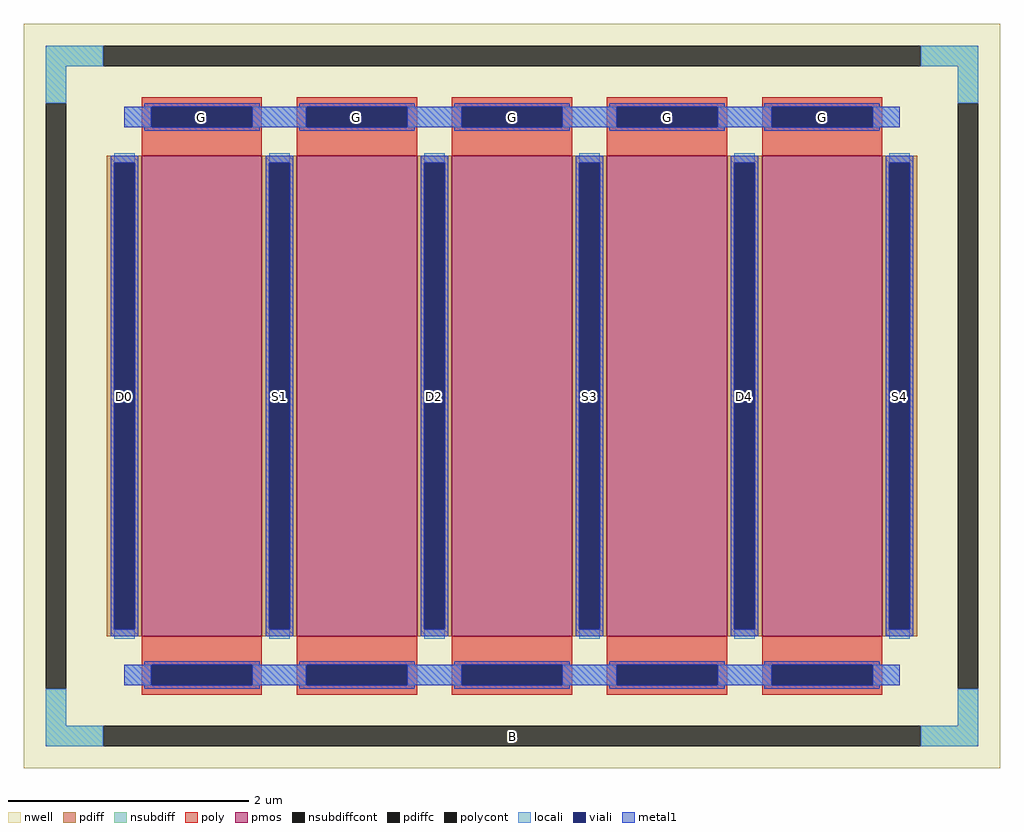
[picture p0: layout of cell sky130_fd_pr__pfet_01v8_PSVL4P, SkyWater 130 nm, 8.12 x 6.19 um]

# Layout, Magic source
magic
tech sky130A
magscale 1 2
<< nwell >>
rect -812 -619 812 619
<< pmos >>
rect -616 -400 -416 400
rect -358 -400 -158 400
rect -100 -400 100 400
rect 158 -400 358 400
rect 416 -400 616 400
<< pdiff >>
rect -674 388 -616 400
rect -674 -388 -662 388
rect -628 -388 -616 388
rect -674 -400 -616 -388
rect -416 388 -358 400
rect -416 -388 -404 388
rect -370 -388 -358 388
rect -416 -400 -358 -388
rect -158 388 -100 400
rect -158 -388 -146 388
rect -112 -388 -100 388
rect -158 -400 -100 -388
rect 100 388 158 400
rect 100 -388 112 388
rect 146 -388 158 388
rect 100 -400 158 -388
rect 358 388 416 400
rect 358 -388 370 388
rect 404 -388 416 388
rect 358 -400 416 -388
rect 616 388 674 400
rect 616 -388 628 388
rect 662 -388 674 388
rect 616 -400 674 -388
<< pdiffc >>
rect -662 -388 -628 388
rect -404 -388 -370 388
rect -146 -388 -112 388
rect 112 -388 146 388
rect 370 -388 404 388
rect 628 -388 662 388
<< nsubdiff >>
rect -776 549 -680 583
rect 680 549 776 583
rect -776 487 -742 549
rect 742 487 776 549
rect -776 -549 -742 -487
rect 742 -549 776 -487
rect -776 -583 -680 -549
rect 680 -583 776 -549
<< nsubdiffcont >>
rect -680 549 680 583
rect -776 -487 -742 487
rect 742 -487 776 487
rect -680 -583 680 -549
<< poly >>
rect -616 481 -416 497
rect -616 447 -600 481
rect -432 447 -416 481
rect -616 400 -416 447
rect -358 481 -158 497
rect -358 447 -342 481
rect -174 447 -158 481
rect -358 400 -158 447
rect -100 481 100 497
rect -100 447 -84 481
rect 84 447 100 481
rect -100 400 100 447
rect 158 481 358 497
rect 158 447 174 481
rect 342 447 358 481
rect 158 400 358 447
rect 416 481 616 497
rect 416 447 432 481
rect 600 447 616 481
rect 416 400 616 447
rect -616 -447 -416 -400
rect -616 -481 -600 -447
rect -432 -481 -416 -447
rect -616 -497 -416 -481
rect -358 -447 -158 -400
rect -358 -481 -342 -447
rect -174 -481 -158 -447
rect -358 -497 -158 -481
rect -100 -447 100 -400
rect -100 -481 -84 -447
rect 84 -481 100 -447
rect -100 -497 100 -481
rect 158 -447 358 -400
rect 158 -481 174 -447
rect 342 -481 358 -447
rect 158 -497 358 -481
rect 416 -447 616 -400
rect 416 -481 432 -447
rect 600 -481 616 -447
rect 416 -497 616 -481
<< polycont >>
rect -600 447 -432 481
rect -342 447 -174 481
rect -84 447 84 481
rect 174 447 342 481
rect 432 447 600 481
rect -600 -481 -432 -447
rect -342 -481 -174 -447
rect -84 -481 84 -447
rect 174 -481 342 -447
rect 432 -481 600 -447
<< locali >>
rect -776 549 -680 583
rect 680 549 776 583
rect -776 487 -742 549
rect 742 487 776 549
rect -645 447 -600 481
rect -432 447 -342 481
rect -174 447 -84 481
rect 84 447 174 481
rect 342 447 432 481
rect 600 447 645 481
rect -662 388 -628 404
rect -662 -404 -628 -388
rect -404 388 -370 404
rect -404 -404 -370 -388
rect -146 388 -112 404
rect -146 -404 -112 -388
rect 112 388 146 404
rect 112 -404 146 -388
rect 370 388 404 404
rect 370 -404 404 -388
rect 628 388 662 404
rect 628 -404 662 -388
rect -645 -481 -600 -447
rect -432 -481 -342 -447
rect -174 -481 -84 -447
rect 84 -481 174 -447
rect 342 -481 432 -447
rect 600 -481 645 -447
rect -776 -549 -742 -487
rect 742 -549 776 -487
rect -776 -583 -680 -549
rect 680 -583 776 -549
<< viali >>
rect -600 447 -432 481
rect -342 447 -174 481
rect -84 447 84 481
rect 174 447 342 481
rect 432 447 600 481
rect -662 -388 -628 388
rect -404 -388 -370 388
rect -146 -388 -112 388
rect 112 -388 146 388
rect 370 -388 404 388
rect 628 -388 662 388
rect -600 -481 -432 -447
rect -342 -481 -174 -447
rect -84 -481 84 -447
rect 174 -481 342 -447
rect 432 -481 600 -447
<< metal1 >>
rect -612 481 -420 487
rect -354 481 -162 487
rect -96 481 96 487
rect 162 481 354 487
rect 420 481 612 487
rect -645 447 -600 481
rect -432 447 -342 481
rect -174 447 -84 481
rect 84 447 174 481
rect 342 447 432 481
rect 600 447 645 481
rect -612 441 -420 447
rect -354 441 -162 447
rect -96 441 96 447
rect 162 441 354 447
rect 420 441 612 447
rect -668 388 -622 400
rect -668 -388 -662 388
rect -628 -388 -622 388
rect -668 -400 -622 -388
rect -410 388 -364 400
rect -410 -388 -404 388
rect -370 -388 -364 388
rect -410 -400 -364 -388
rect -152 388 -106 400
rect -152 -388 -146 388
rect -112 -388 -106 388
rect -152 -400 -106 -388
rect 106 388 152 400
rect 106 -388 112 388
rect 146 -388 152 388
rect 106 -400 152 -388
rect 364 388 410 400
rect 364 -388 370 388
rect 404 -388 410 388
rect 364 -400 410 -388
rect 622 388 668 400
rect 622 -388 628 388
rect 662 -388 668 388
rect 622 -400 668 -388
rect -612 -447 -420 -441
rect -354 -447 -162 -441
rect -96 -447 96 -441
rect 162 -447 354 -441
rect 420 -447 612 -441
rect -645 -481 -600 -447
rect -432 -481 -342 -447
rect -174 -481 -84 -447
rect 84 -481 174 -447
rect 342 -481 432 -447
rect 600 -481 645 -447
rect -612 -487 -420 -481
rect -354 -487 -162 -481
rect -96 -487 96 -481
rect 162 -487 354 -481
rect 420 -487 612 -481
<< labels >>
rlabel nsubdiffcont 0 -566 0 -566 0 B
port 1 nsew
rlabel pdiffc -645 0 -645 0 0 D0
port 2 nsew
rlabel polycont -516 464 -516 464 0 G
port 3 nsew
rlabel pdiffc -387 0 -387 0 0 S1
port 4 nsew
rlabel polycont -258 464 -258 464 0 G
port 3 nsew
rlabel pdiffc -129 0 -129 0 0 D2
port 5 nsew
rlabel polycont 0 464 0 464 0 G
port 3 nsew
rlabel pdiffc 129 0 129 0 0 S3
port 6 nsew
rlabel polycont 258 464 258 464 0 G
port 3 nsew
rlabel pdiffc 387 0 387 0 0 D4
port 7 nsew
rlabel pdiffc 645 0 645 0 0 S4
port 8 nsew
rlabel polycont 516 464 516 464 0 G
port 3 nsew
<< properties >>
string FIXED_BBOX -759 -566 759 566
string gencell sky130_fd_pr__pfet_01v8
string library sky130
string parameters w 4 l 1.0 m 1 nf 5 diffcov 100 polycov 100 guard 1 glc 1 grc 1 gtc 1 gbc 1 tbcov 100 rlcov 100 topc 1 botc 1 poverlap 0 doverlap 1 lmin 0.15 wmin 0.42 class mosfet compatible {sky130_fd_pr__pfet_01v8  sky130_fd_pr__pfet_01v8_lvt sky130_fd_pr__pfet_01v8_hvt  sky130_fd_pr__pfet_g5v0d10v5} full_metal 1 conn_gates 1 viasrc 100 viadrn 100 viagate 100 viagb 0 viagr 0 viagl 0 viagt 0 doports 1
<< end >>
